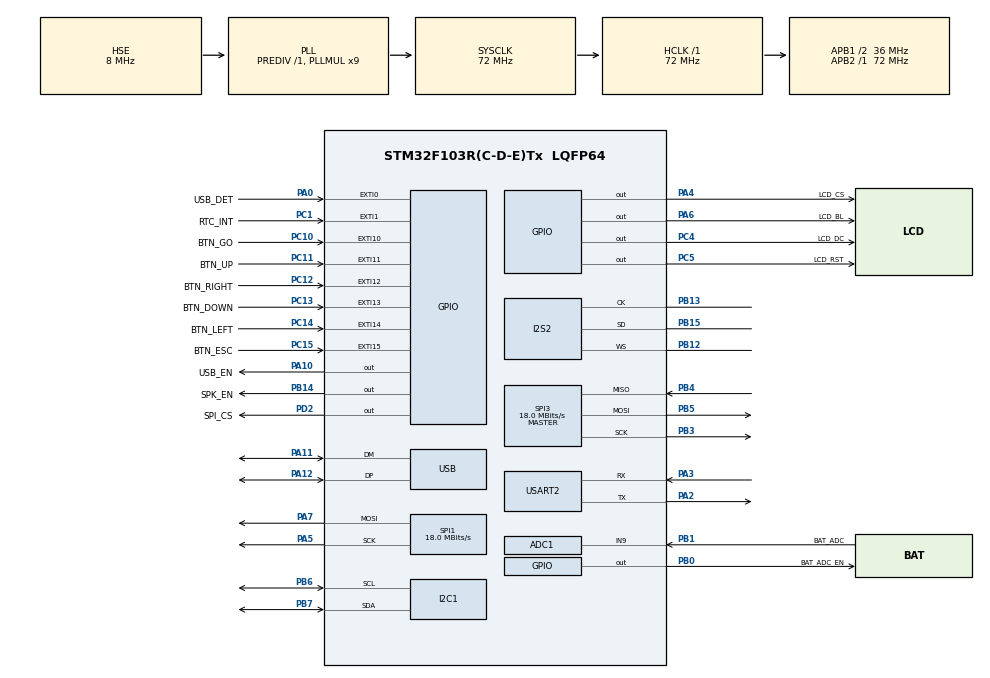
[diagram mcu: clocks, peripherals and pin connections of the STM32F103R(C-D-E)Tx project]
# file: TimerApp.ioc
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ADC1.Channel-8\#ChannelRegularConversion=ADC_CHANNEL_9
ADC1.NbrOfConversionFlag=1
ADC1.Rank-8\#ChannelRegularConversion=1
ADC1.SamplingTime-8\#ChannelRegularConversion=ADC_SAMPLETIME_1CYCLE_5
ADC1.master=1
Dma.Request0=SPI2_TX
Dma.Request1=SPI3_TX
Dma.Request2=SPI3_RX
Dma.SPI2_TX.0.Direction=DMA_MEMORY_TO_PERIPH
Dma.SPI2_TX.0.Instance=DMA1_Channel5
Dma.SPI2_TX.0.MemDataAlignment=DMA_MDATAALIGN_WORD
Dma.SPI2_TX.0.MemInc=DMA_MINC_ENABLE
Dma.SPI2_TX.0.Mode=DMA_NORMAL
Dma.SPI2_TX.0.PeriphDataAlignment=DMA_PDATAALIGN_WORD
Dma.SPI2_TX.0.PeriphInc=DMA_PINC_DISABLE
Dma.SPI2_TX.0.Priority=DMA_PRIORITY_MEDIUM
Dma.SPI3_RX.2.Direction=DMA_PERIPH_TO_MEMORY
Dma.SPI3_RX.2.Instance=DMA2_Channel1
Dma.SPI3_RX.2.MemDataAlignment=DMA_MDATAALIGN_BYTE
Dma.SPI3_RX.2.MemInc=DMA_MINC_ENABLE
Dma.SPI3_RX.2.Mode=DMA_NORMAL
Dma.SPI3_RX.2.PeriphDataAlignment=DMA_PDATAALIGN_BYTE
Dma.SPI3_RX.2.PeriphInc=DMA_PINC_DISABLE
Dma.SPI3_RX.2.Priority=DMA_PRIORITY_LOW
Dma.SPI3_TX.1.Direction=DMA_MEMORY_TO_PERIPH
Dma.SPI3_TX.1.Instance=DMA2_Channel2
Dma.SPI3_TX.1.MemDataAlignment=DMA_MDATAALIGN_BYTE
Dma.SPI3_TX.1.MemInc=DMA_MINC_ENABLE
Dma.SPI3_TX.1.Mode=DMA_NORMAL
Dma.SPI3_TX.1.PeriphDataAlignment=DMA_PDATAALIGN_BYTE
Dma.SPI3_TX.1.PeriphInc=DMA_PINC_DISABLE
Dma.SPI3_TX.1.Priority=DMA_PRIORITY_LOW
FATFS._CODE_PAGE=850
FATFS._MAX_LFN=127
FATFS._MAX_SS=512
FATFS._USE_LFN=3
I2C1.I2C_Mode=I2C_Fast
I2S2.AudioFreq=I2S_AUDIOFREQ_22K
I2S2.DataFormat=I2S_DATAFORMAT_16B
I2S2.ErrorAudioFreq=0.26 %
I2S2.Instance=SPI$Index
I2S2.RealAudioFreq=22.058 KHz
I2S2.Standard=I2S_STANDARD_PHILIPS
I2S2.VirtualMode=I2S_MODE_MASTER
Mcu.Family=STM32F1
Mcu.Name=STM32F103R(C-D-E)Tx
Mcu.Package=LQFP64
NVIC.DMA1_Channel5_IRQn=true\:0\:0\:true\:false\:true\:false\:true\:true
NVIC.DMA2_Channel1_IRQn=true\:0\:0\:false\:false\:true\:false\:true\:true
NVIC.DMA2_Channel2_IRQn=true\:0\:0\:false\:false\:true\:false\:true\:true
NVIC.EXTI0_IRQn=true\:0\:0\:false\:false\:true\:true\:true\:true
NVIC.EXTI15_10_IRQn=true\:0\:0\:false\:false\:true\:true\:true\:true
NVIC.EXTI1_IRQn=true\:0\:0\:false\:false\:true\:true\:true\:true
NVIC.PriorityGroup=NVIC_PRIORITYGROUP_4
NVIC.USB_LP_CAN1_RX0_IRQn=true\:1\:0\:true\:false\:true\:false\:true\:true
PA0-WKUP.GPIO_Label=USB_DET
PA0-WKUP.GPIO_ModeDefaultEXTI=GPIO_MODE_IT_RISING_FALLING
PA0-WKUP.Signal=GPXTI0
PA10.GPIO_Label=USB_EN
PA10.Signal=GPIO_Output
PA11.Mode=Device
PA11.Signal=USB_DM
PA12.Mode=Device
PA12.Signal=USB_DP
PA13.Mode=Serial_Wire
PA13.Signal=SYS_JTMS-SWDIO
PA14.Mode=Serial_Wire
PA14.Signal=SYS_JTCK-SWCLK
PA2.Mode=Asynchronous
PA2.Signal=USART2_TX
PA3.Mode=Asynchronous
PA3.Signal=USART2_RX
PA4.GPIO_Label=LCD_CS
PA4.PinState=GPIO_PIN_SET
PA4.Signal=GPIO_Output
PA5.Mode=TX_Only_Simplex_Unidirect_Master
PA5.Signal=SPI1_SCK
PA6.GPIO_Label=LCD_BL
PA6.PinState=GPIO_PIN_SET
PA6.Signal=GPIO_Output
PA7.Mode=TX_Only_Simplex_Unidirect_Master
PA7.Signal=SPI1_MOSI
PB0.GPIO_Label=BAT_ADC_EN
PB0.PinState=GPIO_PIN_SET
PB0.Signal=GPIO_Output
PB1.GPIO_Label=BAT_ADC
PB1.Signal=ADCx_IN9
PB12.GPIO_Speed=GPIO_SPEED_FREQ_MEDIUM
PB12.Mode=Half_Duplex_Master_TX
PB12.Signal=I2S2_WS
PB13.GPIO_Speed=GPIO_SPEED_FREQ_MEDIUM
PB13.Mode=Half_Duplex_Master_TX
PB13.Signal=I2S2_CK
PB14.GPIO_Label=SPK_EN
PB14.Signal=GPIO_Output
PB15.GPIO_Speed=GPIO_SPEED_FREQ_MEDIUM
PB15.Mode=Half_Duplex_Master_TX
PB15.Signal=I2S2_SD
PB3.Mode=Full_Duplex_Master
PB3.Signal=SPI3_SCK
PB4.GPIO_PuPd=GPIO_NOPULL
PB4.Mode=Full_Duplex_Master
PB4.Signal=SPI3_MISO
PB5.Mode=Full_Duplex_Master
PB5.Signal=SPI3_MOSI
PB6.GPIO_Speed=GPIO_SPEED_FREQ_MEDIUM
PB6.Mode=I2C
PB6.Signal=I2C1_SCL
PB7.GPIO_Speed=GPIO_SPEED_FREQ_MEDIUM
PB7.Mode=I2C
PB7.Signal=I2C1_SDA
PC1.GPIO_Label=RTC_INT
PC1.GPIO_ModeDefaultEXTI=GPIO_MODE_IT_FALLING
PC1.Signal=GPXTI1
PC10.GPIO_Label=BTN_GO
PC10.Signal=GPXTI10
PC11.GPIO_Label=BTN_UP
PC11.Signal=GPXTI11
PC12.GPIO_Label=BTN_RIGHT
PC12.Signal=GPXTI12
PC13-TAMPER-RTC.GPIO_Label=BTN_DOWN
PC13-TAMPER-RTC.Signal=GPXTI13
PC14-OSC32_IN.GPIO_Label=BTN_LEFT
PC14-OSC32_IN.Signal=GPXTI14
PC15-OSC32_OUT.GPIO_Label=BTN_ESC
PC15-OSC32_OUT.Signal=GPXTI15
PC4.GPIO_Label=LCD_DC
PC4.Signal=GPIO_Output
PC5.GPIO_Label=LCD_RST
PC5.Signal=GPIO_Output
PD0-OSC_IN.Mode=HSE-External-Oscillator
PD0-OSC_IN.Signal=RCC_OSC_IN
PD1-OSC_OUT.Mode=HSE-External-Oscillator
PD1-OSC_OUT.Signal=RCC_OSC_OUT
PD2.GPIO_Label=SPI_CS
PD2.PinState=GPIO_PIN_SET
PD2.Signal=GPIO_Output
ProjectManager.HeapSize=0x4000
ProjectManager.StackSize=0x1000
ProjectManager.TargetToolchain=CMake
RCC.ADCPresc=RCC_ADCPCLK2_DIV8
RCC.AHBFreq_Value=72000000
RCC.APB1CLKDivider=RCC_HCLK_DIV2
RCC.APB1Freq_Value=36000000
RCC.APB1TimFreq_Value=72000000
RCC.APB2Freq_Value=72000000
RCC.APB2TimFreq_Value=72000000
RCC.HCLKFreq_Value=72000000
RCC.PLLMUL=RCC_PLL_MUL9
RCC.SYSCLKFreq_VALUE=72000000
RCC.SYSCLKSource=RCC_SYSCLKSOURCE_PLLCLK
RCC.USBFreq_Value=48000000
RCC.USBPrescaler=RCC_USBCLKSOURCE_PLL_DIV1_5
SH.ADCx_IN9.0=ADC1_IN9,IN9
SPI1.BaudRatePrescaler=SPI_BAUDRATEPRESCALER_4
SPI1.CalculateBaudRate=18.0 MBits/s
SPI1.Direction=SPI_DIRECTION_2LINES
SPI1.Mode=SPI_MODE_MASTER
SPI1.VirtualType=VM_MASTER
SPI3.BaudRatePrescaler=SPI_BAUDRATEPRESCALER_2
SPI3.CLKPhase=SPI_PHASE_1EDGE
SPI3.CLKPolarity=SPI_POLARITY_LOW
SPI3.CalculateBaudRate=18.0 MBits/s
SPI3.Direction=SPI_DIRECTION_2LINES
SPI3.Mode=SPI_MODE_MASTER
SPI3.VirtualType=VM_MASTER
USART2.VirtualMode=VM_ASYNC
USB_DEVICE.CLASS_NAME_FS=MSC
USB_DEVICE.MSC_MEDIA_PACKET=512
USB_DEVICE.PID_MSC_FS=22314
USB_DEVICE.VirtualMode=Msc
USB_DEVICE.VirtualModeFS=Msc_FS
VP_CRC_VS_CRC.Mode=CRC_Activate
VP_FATFS_VS_Generic.Mode=User_defined
VP_USB_DEVICE_VS_USB_DEVICE_MSC_FS.Mode=MSC_FS
board=custom

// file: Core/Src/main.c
/* USER CODE BEGIN Header */
/**
  ******************************************************************************
  * @file           : main.c
  * @brief          : Main program body
  ******************************************************************************
  * @attention
  *
  * Copyright (c) 2022 STMicroelectronics.
  * All rights reserved.
  *
  * This software is licensed under terms that can be found in the LICENSE file
  * in the root directory of this software component.
  * If no LICENSE file comes with this software, it is provided AS-IS.
  *
  ******************************************************************************
  */
/* USER CODE END Header */
#include "main.h"
#include "fatfs.h"
#include "usb_device.h"

ADC_HandleTypeDef hadc1;

CRC_HandleTypeDef hcrc;

I2C_HandleTypeDef hi2c1;

I2S_HandleTypeDef hi2s2;
DMA_HandleTypeDef hdma_spi2_tx;

SPI_HandleTypeDef hspi1;
SPI_HandleTypeDef hspi3;
DMA_HandleTypeDef hdma_spi3_tx;
DMA_HandleTypeDef hdma_spi3_rx;

UART_HandleTypeDef huart2;

void SystemClock_Config(void);
static void MX_GPIO_Init(void);
static void MX_DMA_Init(void);
static void MX_ADC1_Init(void);
static void MX_I2C1_Init(void);
static void MX_I2S2_Init(void);
static void MX_SPI1_Init(void);
static void MX_SPI3_Init(void);
static void MX_CRC_Init(void);
static void MX_USART2_UART_Init(void);

void SystemClock_Config(void)
{
  RCC_OscInitTypeDef RCC_OscInitStruct = {0};
  RCC_ClkInitTypeDef RCC_ClkInitStruct = {0};
  RCC_PeriphCLKInitTypeDef PeriphClkInit = {0};

  /** Initializes the RCC Oscillators according to the specified parameters
  * in the RCC_OscInitTypeDef structure.
  */
  RCC_OscInitStruct.OscillatorType = RCC_OSCILLATORTYPE_HSE;
  RCC_OscInitStruct.HSEState = RCC_HSE_ON;
  RCC_OscInitStruct.HSEPredivValue = RCC_HSE_PREDIV_DIV1;
  RCC_OscInitStruct.HSIState = RCC_HSI_ON;
  RCC_OscInitStruct.PLL.PLLState = RCC_PLL_ON;
  RCC_OscInitStruct.PLL.PLLSource = RCC_PLLSOURCE_HSE;
  RCC_OscInitStruct.PLL.PLLMUL = RCC_PLL_MUL9;
  if (HAL_RCC_OscConfig(&RCC_OscInitStruct) != HAL_OK)
  {
    Error_Handler();
  }

  /** Initializes the CPU, AHB and APB buses clocks
  */
  RCC_ClkInitStruct.ClockType = RCC_CLOCKTYPE_HCLK|RCC_CLOCKTYPE_SYSCLK
                              |RCC_CLOCKTYPE_PCLK1|RCC_CLOCKTYPE_PCLK2;
  RCC_ClkInitStruct.SYSCLKSource = RCC_SYSCLKSOURCE_PLLCLK;
  RCC_ClkInitStruct.AHBCLKDivider = RCC_SYSCLK_DIV1;
  RCC_ClkInitStruct.APB1CLKDivider = RCC_HCLK_DIV2;
  RCC_ClkInitStruct.APB2CLKDivider = RCC_HCLK_DIV1;

  if (HAL_RCC_ClockConfig(&RCC_ClkInitStruct, FLASH_LATENCY_2) != HAL_OK)
  {
    Error_Handler();
  }
  PeriphClkInit.PeriphClockSelection = RCC_PERIPHCLK_ADC|RCC_PERIPHCLK_I2S2
                              |RCC_PERIPHCLK_USB;
  PeriphClkInit.AdcClockSelection = RCC_ADCPCLK2_DIV8;
  PeriphClkInit.I2s2ClockSelection = RCC_I2S2CLKSOURCE_SYSCLK;
  PeriphClkInit.UsbClockSelection = RCC_USBCLKSOURCE_PLL_DIV1_5;
  if (HAL_RCCEx_PeriphCLKConfig(&PeriphClkInit) != HAL_OK)
  {
    Error_Handler();
  }
}

static void MX_ADC1_Init(void)
{

  ADC_ChannelConfTypeDef sConfig = {0};

  /** Common config
  */
  hadc1.Instance = ADC1;
  hadc1.Init.ScanConvMode = ADC_SCAN_DISABLE;
  hadc1.Init.ContinuousConvMode = DISABLE;
  hadc1.Init.DiscontinuousConvMode = DISABLE;
  hadc1.Init.ExternalTrigConv = ADC_SOFTWARE_START;
  hadc1.Init.DataAlign = ADC_DATAALIGN_RIGHT;
  hadc1.Init.NbrOfConversion = 1;
  if (HAL_ADC_Init(&hadc1) != HAL_OK)
  {
    Error_Handler();
  }

  /** Configure Regular Channel
  */
  sConfig.Channel = ADC_CHANNEL_9;
  sConfig.Rank = ADC_REGULAR_RANK_1;
  sConfig.SamplingTime = ADC_SAMPLETIME_1CYCLE_5;
  if (HAL_ADC_ConfigChannel(&hadc1, &sConfig) != HAL_OK)
  {
    Error_Handler();
  }

}

static void MX_CRC_Init(void)
{

  hcrc.Instance = CRC;
  if (HAL_CRC_Init(&hcrc) != HAL_OK)
  {
    Error_Handler();
  }

}

static void MX_I2C1_Init(void)
{

  hi2c1.Instance = I2C1;
  hi2c1.Init.ClockSpeed = 400000;
  hi2c1.Init.DutyCycle = I2C_DUTYCYCLE_2;
  hi2c1.Init.OwnAddress1 = 0;
  hi2c1.Init.AddressingMode = I2C_ADDRESSINGMODE_7BIT;
  hi2c1.Init.DualAddressMode = I2C_DUALADDRESS_DISABLE;
  hi2c1.Init.OwnAddress2 = 0;
  hi2c1.Init.GeneralCallMode = I2C_GENERALCALL_DISABLE;
  hi2c1.Init.NoStretchMode = I2C_NOSTRETCH_DISABLE;
  if (HAL_I2C_Init(&hi2c1) != HAL_OK)
  {
    Error_Handler();
  }

}

static void MX_I2S2_Init(void)
{

  hi2s2.Instance = SPI2;
  hi2s2.Init.Mode = I2S_MODE_MASTER_TX;
  hi2s2.Init.Standard = I2S_STANDARD_PHILIPS;
  hi2s2.Init.DataFormat = I2S_DATAFORMAT_16B;
  hi2s2.Init.MCLKOutput = I2S_MCLKOUTPUT_DISABLE;
  hi2s2.Init.AudioFreq = I2S_AUDIOFREQ_22K;
  hi2s2.Init.CPOL = I2S_CPOL_LOW;
  if (HAL_I2S_Init(&hi2s2) != HAL_OK)
  {
    Error_Handler();
  }

}

static void MX_SPI1_Init(void)
{

  /* SPI1 parameter configuration*/
  hspi1.Instance = SPI1;
  hspi1.Init.Mode = SPI_MODE_MASTER;
  hspi1.Init.Direction = SPI_DIRECTION_2LINES;
  hspi1.Init.DataSize = SPI_DATASIZE_8BIT;
  hspi1.Init.CLKPolarity = SPI_POLARITY_LOW;
  hspi1.Init.CLKPhase = SPI_PHASE_1EDGE;
  hspi1.Init.NSS = SPI_NSS_SOFT;
  hspi1.Init.BaudRatePrescaler = SPI_BAUDRATEPRESCALER_4;
  hspi1.Init.FirstBit = SPI_FIRSTBIT_MSB;
  hspi1.Init.TIMode = SPI_TIMODE_DISABLE;
  hspi1.Init.CRCCalculation = SPI_CRCCALCULATION_DISABLE;
  hspi1.Init.CRCPolynomial = 10;
  if (HAL_SPI_Init(&hspi1) != HAL_OK)
  {
    Error_Handler();
  }

}

static void MX_SPI3_Init(void)
{

  /* SPI3 parameter configuration*/
  hspi3.Instance = SPI3;
  hspi3.Init.Mode = SPI_MODE_MASTER;
  hspi3.Init.Direction = SPI_DIRECTION_2LINES;
  hspi3.Init.DataSize = SPI_DATASIZE_8BIT;
  hspi3.Init.CLKPolarity = SPI_POLARITY_LOW;
  hspi3.Init.CLKPhase = SPI_PHASE_1EDGE;
  hspi3.Init.NSS = SPI_NSS_SOFT;
  hspi3.Init.BaudRatePrescaler = SPI_BAUDRATEPRESCALER_2;
  hspi3.Init.FirstBit = SPI_FIRSTBIT_MSB;
  hspi3.Init.TIMode = SPI_TIMODE_DISABLE;
  hspi3.Init.CRCCalculation = SPI_CRCCALCULATION_DISABLE;
  hspi3.Init.CRCPolynomial = 10;
  if (HAL_SPI_Init(&hspi3) != HAL_OK)
  {
    Error_Handler();
  }

}

static void MX_USART2_UART_Init(void)
{

  huart2.Instance = USART2;
  huart2.Init.BaudRate = 115200;
  huart2.Init.WordLength = UART_WORDLENGTH_8B;
  huart2.Init.StopBits = UART_STOPBITS_1;
  huart2.Init.Parity = UART_PARITY_NONE;
  huart2.Init.Mode = UART_MODE_TX_RX;
  huart2.Init.HwFlowCtl = UART_HWCONTROL_NONE;
  huart2.Init.OverSampling = UART_OVERSAMPLING_16;
  if (HAL_UART_Init(&huart2) != HAL_OK)
  {
    Error_Handler();
  }

}

static void MX_DMA_Init(void)
{

  /* DMA controller clock enable */
  __HAL_RCC_DMA1_CLK_ENABLE();
  __HAL_RCC_DMA2_CLK_ENABLE();

  /* DMA interrupt init */
  /* DMA1_Channel5_IRQn interrupt configuration */
  HAL_NVIC_SetPriority(DMA1_Channel5_IRQn, 0, 0);
  HAL_NVIC_EnableIRQ(DMA1_Channel5_IRQn);
  /* DMA2_Channel1_IRQn interrupt configuration */
  HAL_NVIC_SetPriority(DMA2_Channel1_IRQn, 0, 0);
  HAL_NVIC_EnableIRQ(DMA2_Channel1_IRQn);
  /* DMA2_Channel2_IRQn interrupt configuration */
  HAL_NVIC_SetPriority(DMA2_Channel2_IRQn, 0, 0);
  HAL_NVIC_EnableIRQ(DMA2_Channel2_IRQn);

}

static void MX_GPIO_Init(void)
{
  GPIO_InitTypeDef GPIO_InitStruct = {0};

  /* GPIO Ports Clock Enable */
  __HAL_RCC_GPIOC_CLK_ENABLE();
  __HAL_RCC_GPIOD_CLK_ENABLE();
  __HAL_RCC_GPIOA_CLK_ENABLE();
  __HAL_RCC_GPIOB_CLK_ENABLE();

  /*Configure GPIO pin Output Level */
  HAL_GPIO_WritePin(GPIOA, LCD_CS_Pin|LCD_BL_Pin, GPIO_PIN_SET);

  /*Configure GPIO pin Output Level */
  HAL_GPIO_WritePin(GPIOC, LCD_DC_Pin|LCD_RST_Pin, GPIO_PIN_RESET);

  /*Configure GPIO pin Output Level */
  HAL_GPIO_WritePin(BAT_ADC_EN_GPIO_Port, BAT_ADC_EN_Pin, GPIO_PIN_SET);

  /*Configure GPIO pin Output Level */
  HAL_GPIO_WritePin(SPK_EN_GPIO_Port, SPK_EN_Pin, GPIO_PIN_RESET);

  /*Configure GPIO pin Output Level */
  HAL_GPIO_WritePin(USB_EN_GPIO_Port, USB_EN_Pin, GPIO_PIN_RESET);

  /*Configure GPIO pin Output Level */
  HAL_GPIO_WritePin(SPI_CS_GPIO_Port, SPI_CS_Pin, GPIO_PIN_SET);

  /*Configure GPIO pins : BTN_DOWN_Pin BTN_LEFT_Pin BTN_ESC_Pin BTN_GO_Pin
                           BTN_UP_Pin BTN_RIGHT_Pin */
  GPIO_InitStruct.Pin = BTN_DOWN_Pin|BTN_LEFT_Pin|BTN_ESC_Pin|BTN_GO_Pin
                          |BTN_UP_Pin|BTN_RIGHT_Pin;
  GPIO_InitStruct.Mode = GPIO_MODE_IT_RISING;
  GPIO_InitStruct.Pull = GPIO_NOPULL;
  HAL_GPIO_Init(GPIOC, &GPIO_InitStruct);

  /*Configure GPIO pins : PC0 PC2 PC3 PC6
                           PC7 PC8 PC9 */
  GPIO_InitStruct.Pin = GPIO_PIN_0|GPIO_PIN_2|GPIO_PIN_3|GPIO_PIN_6
                          |GPIO_PIN_7|GPIO_PIN_8|GPIO_PIN_9;
  GPIO_InitStruct.Mode = GPIO_MODE_ANALOG;
  HAL_GPIO_Init(GPIOC, &GPIO_InitStruct);

  /*Configure GPIO pin : RTC_INT_Pin */
  GPIO_InitStruct.Pin = RTC_INT_Pin;
  GPIO_InitStruct.Mode = GPIO_MODE_IT_FALLING;
  GPIO_InitStruct.Pull = GPIO_NOPULL;
  HAL_GPIO_Init(RTC_INT_GPIO_Port, &GPIO_InitStruct);

  /*Configure GPIO pin : USB_DET_Pin */
  GPIO_InitStruct.Pin = USB_DET_Pin;
  GPIO_InitStruct.Mode = GPIO_MODE_IT_RISING_FALLING;
  GPIO_InitStruct.Pull = GPIO_NOPULL;
  HAL_GPIO_Init(USB_DET_GPIO_Port, &GPIO_InitStruct);

  /*Configure GPIO pins : PA1 PA8 PA9 PA15 */
  GPIO_InitStruct.Pin = GPIO_PIN_1|GPIO_PIN_8|GPIO_PIN_9|GPIO_PIN_15;
  GPIO_InitStruct.Mode = GPIO_MODE_ANALOG;
  HAL_GPIO_Init(GPIOA, &GPIO_InitStruct);

  /*Configure GPIO pins : LCD_CS_Pin LCD_BL_Pin USB_EN_Pin */
  GPIO_InitStruct.Pin = LCD_CS_Pin|LCD_BL_Pin|USB_EN_Pin;
  GPIO_InitStruct.Mode = GPIO_MODE_OUTPUT_PP;
  GPIO_InitStruct.Pull = GPIO_NOPULL;
  GPIO_InitStruct.Speed = GPIO_SPEED_FREQ_LOW;
  HAL_GPIO_Init(GPIOA, &GPIO_InitStruct);

  /*Configure GPIO pins : LCD_DC_Pin LCD_RST_Pin */
  GPIO_InitStruct.Pin = LCD_DC_Pin|LCD_RST_Pin;
  GPIO_InitStruct.Mode = GPIO_MODE_OUTPUT_PP;
  GPIO_InitStruct.Pull = GPIO_NOPULL;
  GPIO_InitStruct.Speed = GPIO_SPEED_FREQ_LOW;
  HAL_GPIO_Init(GPIOC, &GPIO_InitStruct);

  /*Configure GPIO pins : BAT_ADC_EN_Pin SPK_EN_Pin */
  GPIO_InitStruct.Pin = BAT_ADC_EN_Pin|SPK_EN_Pin;
  GPIO_InitStruct.Mode = GPIO_MODE_OUTPUT_PP;
  GPIO_InitStruct.Pull = GPIO_NOPULL;
  GPIO_InitStruct.Speed = GPIO_SPEED_FREQ_LOW;
  HAL_GPIO_Init(GPIOB, &GPIO_InitStruct);

  /*Configure GPIO pins : PB2 PB10 PB11 PB8
                           PB9 */
  GPIO_InitStruct.Pin = GPIO_PIN_2|GPIO_PIN_10|GPIO_PIN_11|GPIO_PIN_8
                          |GPIO_PIN_9;
  GPIO_InitStruct.Mode = GPIO_MODE_ANALOG;
  HAL_GPIO_Init(GPIOB, &GPIO_InitStruct);

  /*Configure GPIO pin : SPI_CS_Pin */
  GPIO_InitStruct.Pin = SPI_CS_Pin;
  GPIO_InitStruct.Mode = GPIO_MODE_OUTPUT_PP;
  GPIO_InitStruct.Pull = GPIO_NOPULL;
  GPIO_InitStruct.Speed = GPIO_SPEED_FREQ_LOW;
  HAL_GPIO_Init(SPI_CS_GPIO_Port, &GPIO_InitStruct);

  /* EXTI interrupt init*/
  HAL_NVIC_SetPriority(EXTI0_IRQn, 0, 0);
  HAL_NVIC_EnableIRQ(EXTI0_IRQn);

  HAL_NVIC_SetPriority(EXTI1_IRQn, 0, 0);
  HAL_NVIC_EnableIRQ(EXTI1_IRQn);

  HAL_NVIC_SetPriority(EXTI15_10_IRQn, 0, 0);
  HAL_NVIC_EnableIRQ(EXTI15_10_IRQn);

}

/* USER CODE BEGIN 4 */

void InitProc(void)
{
	SystemClock_Config();

	//spi & i2s dma will not work without this
	MX_DMA_Init();

	/* Initialize all configured peripherals */
	MX_GPIO_Init();
	MX_ADC1_Init();
	MX_I2C1_Init();
	MX_I2S2_Init();
	MX_SPI1_Init();
	MX_SPI3_Init();
	//MX_DMA_Init();
	MX_USB_DEVICE_Init();
	MX_CRC_Init();
	MX_USART2_UART_Init();
	MX_FATFS_Init();
}

void ADC_Config(void)
{
	MX_ADC1_Init();
}

/* USER CODE END 4 */

void Error_Handler(void)
{
  /* USER CODE BEGIN Error_Handler_Debug */
  /* User can add his own implementation to report the HAL error return state */
  __disable_irq();
  while (1)
  {
	if (HAL_GPIO_ReadPin(BTN_UP_GPIO_Port, BTN_UP_Pin) == GPIO_PIN_SET)
	{
		NVIC_SystemReset();
	}

  }
  /* USER CODE END Error_Handler_Debug */
}
